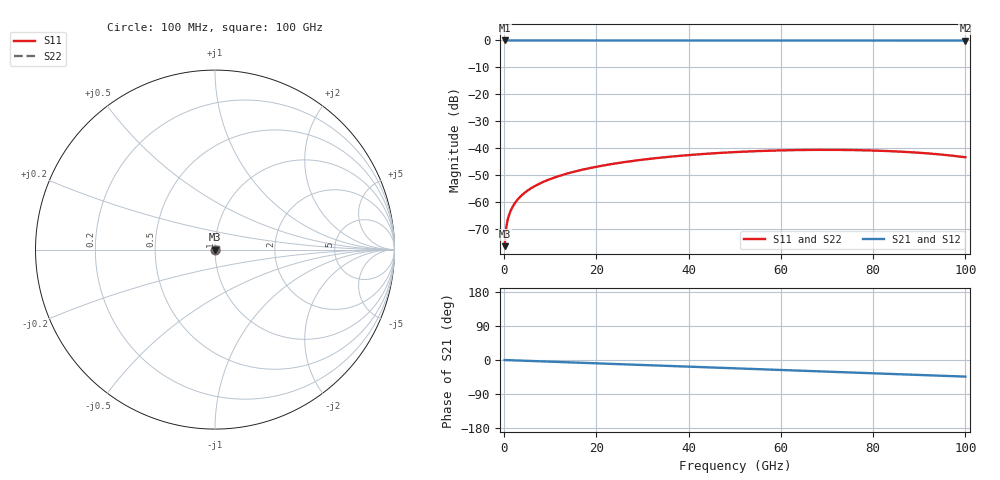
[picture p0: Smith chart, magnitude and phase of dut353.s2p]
! Touchstone file exported from HFSS 2026.1.0
!  File:  C:/ffzhzh/LocalFiles/Ansys_Project_Files/temp_train_TSV_353_1783510057_9504.aedt
!  Generated:  07:28:55 PM Jul  8, 2026
!  Design:  TSV
!  Project:  temp_train_TSV_353_1783510057_9504
! Variables:
!  h_bsmrdl = 2um
!  h_ox = 20um
!  h_rdl = 5um
!  h_sub = 89.6um
!  h_tmrdl = 5um
!  h_tsv = 89.6um
!  h_via = 3um
!  l_bsmrdl = 300um
!  l_sub = 420.28um
!  l_tmrdl = 200um
!  m_sub = 200um
!  pitch = 42.44um
!  r_tsv = 10.14um
!  s_tmrdl = 10um
!  w_bsmrdl = 18um
!  w_sub = 500um
!  w_tmrdl = 12um
!  x_tsv_center1 = 206um
!  x_tsv_center2 = 524um
!  x_tsv_center3 = 736um
!  x_tsv_center4 = 1054um
!  x_tsv_center5 = 1266um
!  x_tsv_center6 = 1584um
# GHz S MA R 50.000000
! Terminal data exported
! Port[1] = TSV1_1_T1
! Port[2] = TSV1_1_T2
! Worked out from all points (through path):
!   1000 points, 100 MHz to 100 GHz, reference 50 ohm
!   highest |S21| = 0.00 dB at 100 MHz (marker M1); lowest = 0.0 dB at 100 GHz (marker M2)
!   group delay of S21, straight-line fit = 1.22 ps
!   lowest |S11| = -76.3 dB at 100 MHz (marker M3), VSWR 1.00, Z = 50 + j0.0069 ohm
!   |S11| at or under -10 dB: start of sweep to end of sweep
!   |S22| runs from -76.3 to -40.6 dB; largest |S21 - S12| = 6.2e-15
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0.1  0.0001531 26.8  0.9999 -0.0  0.9999 -0.0  0.0001531 26.8
! Gamma 0 0 0 0
! Port Impedance 50 0 50 0
0.4  0.0003114 50.9  0.9998 -0.2  0.9998 -0.2  0.0003114 50.9
0.8  0.0004858 54.3  0.9997 -0.4  0.9997 -0.4  0.0004858 54.3
1.1  0.0005907 55.7  0.9997 -0.5  0.9997 -0.5  0.0005907 55.7
1.4  0.0006874 56.9  0.9996 -0.6  0.9996 -0.6  0.0006874 56.9
1.9  0.0008391 58.5  0.9996 -0.9  0.9996 -0.9  0.0008391 58.5
2.5  0.001009 59.7  0.9995 -1.1  0.9995 -1.1  0.001009 59.7
3.9  0.001367 61.3  0.9994 -1.7  0.9994 -1.7  0.001367 61.3
6.1  0.00187 62.9  0.9992 -2.7  0.9992 -2.7  0.00187 62.9
9  0.002488 63.7  0.9991 -4.0  0.9991 -4.0  0.002488 63.7
12.5  0.00318 63.9  0.9989 -5.5  0.9989 -5.5  0.00318 63.8
16.8  0.003981 63.6  0.9987 -7.4  0.9987 -7.4  0.003981 63.6
24.3  0.005267 62.1  0.9984 -10.7  0.9984 -10.7  0.005267 62.1
33.4  0.006636 59.4  0.9981 -14.6  0.9981 -14.6  0.006636 59.4
41.4  0.007647 56.6  0.9979 -18.1  0.9979 -18.1  0.007647 56.6
50.1  0.008512 53.2  0.9977 -21.9  0.9977 -21.9  0.008512 53.1
58.4  0.009074 49.5  0.9975 -25.6  0.9975 -25.6  0.009075 49.5
66.7  0.009346 45.6  0.9973 -29.2  0.9973 -29.2  0.009346 45.6
75.3  0.009284 41.1  0.9971 -33.0  0.9971 -33.0  0.009284 41.1
83.4  0.008871 36.4  0.9969 -36.5  0.9969 -36.5  0.008872 36.3
92.1  0.008009 30.4  0.9967 -40.4  0.9967 -40.4  0.00801 30.3
100  0.006821 23.5  0.9965 -43.9  0.9965 -43.9  0.006824 23.4
